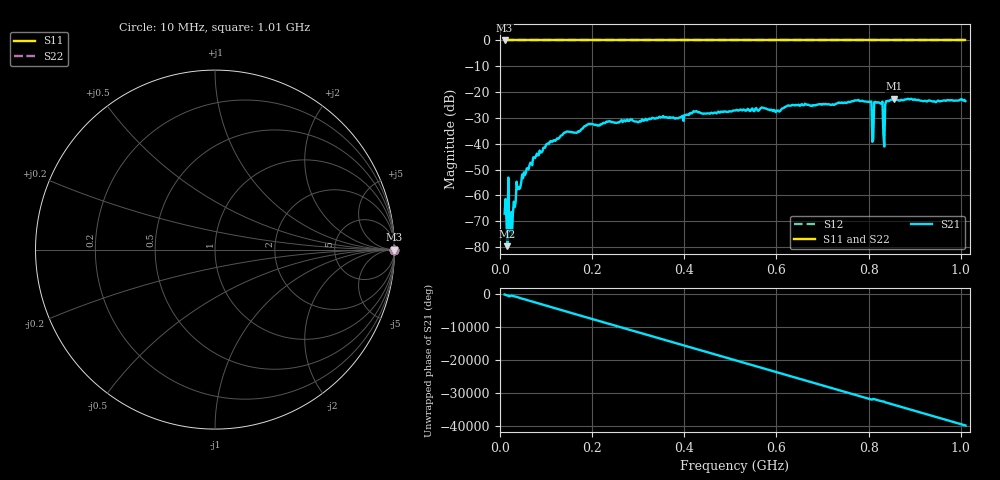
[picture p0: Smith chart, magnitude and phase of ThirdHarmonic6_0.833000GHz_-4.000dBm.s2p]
! 8/16/2025 3:38:12 AM
! C:\ANRITSUVNA\TEMP\TEMP.S2P
! CHANNEL.1
! TR.MEASUREMENT
! RAW.DATA
! RF.CORRECTION.OFF
! AVERAGING.OFF
! IF.BANDWIDTH: 5KHZ
! SWEEPTYPE:  FREQ.SWEEP(Linear)
! Reference Plane Port Info
! PORT:  PORT1  PORT2
! DISTANCE:  0  m  0  m
! TIME:  0  s  0  s
! PHASE.OFFSET:  0  deg.  0  deg.
! LOSS:  0  dB  0  dB
! REF.LOSS:  0  dB  0  dB
! REF.FREQ:  0  Hz  0  Hz
! Power Info
! POWER:  -20  dBm  -20  dBm
! EFF.POWER:  -20  dBm  -20  dBm
! SOURCE.ATTEN:  0  dB  0  dB
! TEST.ATTEN:  0  dB  0  dB
# GHZ S RI R 50.0
! FREQ.GHZ  S11RE  S11IM  S21RE  S21IM  S12RE  S12IM  S22RE  S22IM
!; PortSelection: Port_12
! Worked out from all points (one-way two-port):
!   501 points, 10 MHz to 1.01 GHz, reference 50 ohm
!   highest |S21| = -22.52 dB at 856 MHz (marker M1); lowest = -79.7 dB at 16 MHz (marker M2)
!   lowest |S11| = 0.0 dB at 10 MHz (marker M3)
!   |S11| at or under -10 dB: nowhere
!   |S22| runs from 0.0 to 0.0 dB; largest |S21 - S12| = 1.1
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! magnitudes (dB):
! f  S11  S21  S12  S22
! 10 MHz  0.0  -67.1  0.0  0.0
! 12 MHz  0.0  -61.4  0.0  0.0
! 14 MHz  0.0  -69.7  0.0  0.0
! 16 MHz  0.0  -79.7  0.0  0.0
! 24 MHz  0.0  -66.5  0.0  0.0
! 40 MHz  0.0  -56.8  0.0  0.0
! 76 MHz  0.0  -45.5  0.0  0.0
! 142 MHz  0.0  -35.6  0.0  0.0
! 178 MHz  0.0  -34.2  0.0  0.0
! 344 MHz  0.0  -29.9  0.0  0.0
! 510 MHz  0.0  -27.1  0.0  0.0
! 678 MHz  0.0  -25.4  0.0  0.0
! 802 MHz  0.0  -23.8  0.0  0.0
! 806 MHz  0.0  -23.6  0.0  0.0
! 812 MHz  0.0  -23.9  0.0  0.0
! 816 MHz  0.0  -24.0  0.0  0.0
! 826 MHz  0.0  -24.4  0.0  0.0
! 832 MHz  0.0  -36.2  0.0  0.0
! 836 MHz  0.0  -24.8  0.0  0.0
! 844 MHz  0.0  -23.5  0.0  0.0
! 856 MHz  0.0  -22.5  0.0  0.0
! 1.01 GHz  0.0  -23.5  0.0  0.0
